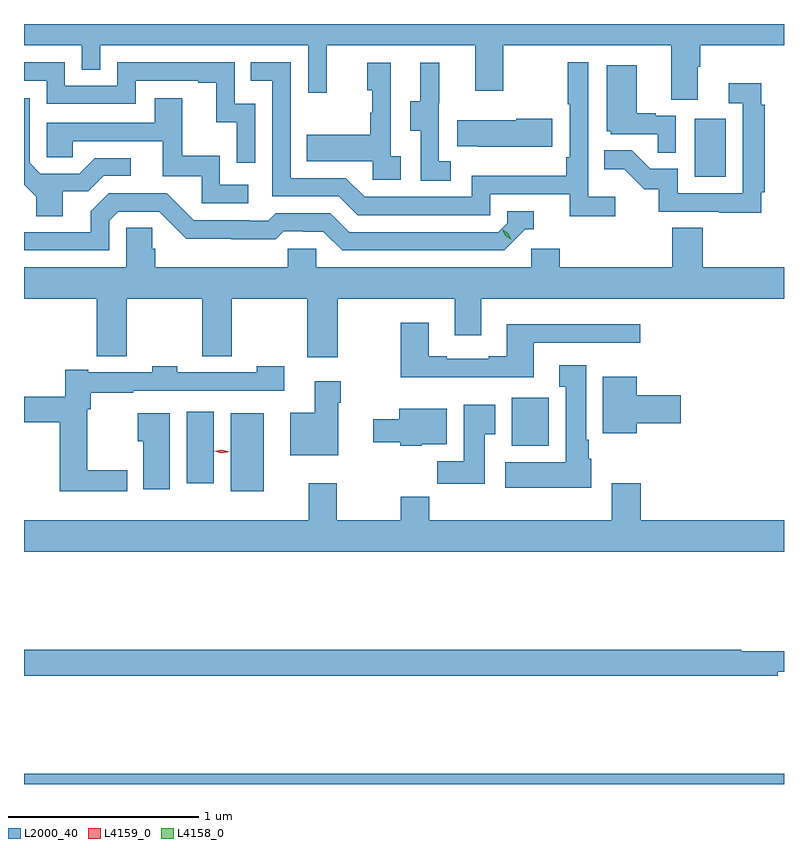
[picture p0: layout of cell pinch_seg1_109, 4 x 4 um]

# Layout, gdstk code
import gdstk
lib = gdstk.Library(unit=1e-6, precision=1e-09)
def R(c, l, rs):  # rectangles x0, y0, x1, y1
    for r in rs: c.add(gdstk.rectangle(r[:2], r[2:], *l))
def P(c, l, *ps):  # polygons
    for p in ps: c.add(gdstk.Polygon(p, *l))
L2000_40 = (2000, 40)
L4158_0 = (4158, 0)
L4159_0 = (4159, 0)

pinch_seg1_109 = lib.new_cell('pinch_seg1_109')
R(pinch_seg1_109, L2000_40, [(1024.081,559.833,1028.081,559.888), (1025.168,561.374,1025.344,561.784), (1024.937,561.417,1025.08,561.793), (1026.647,561.614,1026.843,561.865), (1027.61,563.028,1027.774,563.335)])
P(pinch_seg1_109, L2000_40, [(1027.627,563.608),(1027.64,563.608),(1027.64,563.72),(1028.081,563.72),(1028.081,563.833),(1024.081,563.833),(1024.081,563.72),(1024.386,563.72),(1024.386,563.593),(1024.482,563.593),(1024.482,563.72),(1025.577,563.72),(1025.577,563.472),(1025.675,563.472),(1025.675,563.72),(1026.455,563.72),(1026.455,563.481),(1026.603,563.481),(1026.603,563.72),(1027.487,563.72),(1027.487,563.434),(1027.627,563.434)],
  [(1027.192,562.924),(1027.05,562.924),(1027.05,563.632),(1026.942,563.632),(1026.942,563.41),(1026.954,563.41),(1026.954,563.131),(1026.934,563.131),(1026.934,563.035),(1026.438,563.035),(1026.438,562.923),(1025.874,562.923),(1025.775,563.022),(1025.484,563.022),(1025.484,563.631),(1025.275,563.631),(1025.275,563.535),(1025.388,563.535),(1025.388,562.926),(1025.738,562.926),(1025.837,562.827),(1026.534,562.827),(1026.534,562.938),(1026.953,562.938),(1026.953,562.822),(1027.192,562.822)],
  [(1025.298,563.412),(1025.19,563.412),(1025.19,563.631),(1024.572,563.631),(1024.572,563.508),(1024.296,563.508),(1024.296,563.631),(1024.081,563.631),(1024.081,563.535),(1024.2,563.535),(1024.2,563.412),(1024.668,563.412),(1024.668,563.535),(1024.997,563.535),(1024.997,563.523),(1025.093,563.523),(1025.093,563.315),(1025.202,563.315),(1025.202,563.103),(1025.298,563.103)],
  [(1026.328,563.111),(1026.264,563.111),(1026.264,563.415),(1026.266,563.415),(1026.266,563.629),(1026.167,563.629),(1026.167,563.427),(1026.113,563.427),(1026.113,563.272),(1026.168,563.272),(1026.168,563.008),(1026.328,563.008)],
  [(1026.064,563.138),(1026.012,563.138),(1026.012,563.629),(1025.888,563.629),(1025.888,563.484),(1025.914,563.484),(1025.914,563.366),(1025.904,563.366),(1025.904,563.251),(1025.569,563.251),(1025.569,563.111),(1025.916,563.111),(1025.916,563.013),(1026.064,563.013)],
  [(1027.512,563.349),(1027.406,563.349),(1027.406,563.362),(1027.306,563.362),(1027.306,563.617),(1027.148,563.617),(1027.148,563.268),(1027.17,563.268),(1027.17,563.253),(1027.417,563.253),(1027.417,563.155),(1027.512,563.155)],
  [(1027.961,562.948),(1027.979,562.948),(1027.979,563.408),(1027.961,563.408),(1027.961,563.521),(1027.791,563.521),(1027.791,563.415),(1027.863,563.415),(1027.863,562.941),(1027.521,562.941),(1027.521,563.07),(1027.377,563.07),(1027.279,563.168),(1027.135,563.168),(1027.135,563.069),(1027.239,563.069),(1027.346,562.962),(1027.423,562.962),(1027.423,562.845),(1027.741,562.845),(1027.741,562.84),(1027.961,562.84)],
  [(1024.285,562.954),(1024.42,562.954),(1024.5,563.034),(1024.642,563.034),(1024.642,563.127),(1024.454,563.127),(1024.373,563.046),(1024.167,563.046),(1024.11,563.103),(1024.11,563.443),(1024.081,563.443),(1024.081,562.988),(1024.145,562.924),(1024.145,562.822),(1024.285,562.822)],
  [(1025.26,562.986),(1025.112,562.986),(1025.112,563.14),(1024.913,563.14),(1024.913,563.443),(1024.769,563.443),(1024.769,563.313),(1024.2,563.313),(1024.2,563.133),(1024.337,563.133),(1024.337,563.217),(1024.811,563.217),(1024.811,563.031),(1025.016,563.031),(1025.016,562.89),(1025.26,562.89)],
  [(1026.862,563.334),(1026.671,563.334),(1026.671,563.326),(1026.361,563.326),(1026.361,563.189),(1026.469,563.189),(1026.469,563.186),(1026.862,563.186)],
  [(1024.53,562.797),(1024.578,562.845),(1024.794,562.845),(1024.936,562.703),(1025.172,562.703),(1025.172,562.701),(1025.405,562.701),(1025.447,562.743),(1025.55,562.743),(1025.55,562.74),(1025.657,562.74),(1025.756,562.641),(1026.609,562.641),(1026.72,562.752),(1026.763,562.752),(1026.763,562.848),(1026.624,562.848),(1026.624,562.785),(1026.576,562.737),(1025.793,562.737),(1025.694,562.836),(1025.405,562.836),(1025.366,562.797),(1025.267,562.797),(1025.267,562.8),(1024.974,562.8),(1024.833,562.941),(1024.527,562.941),(1024.433,562.847),(1024.433,562.737),(1024.081,562.737),(1024.081,562.641),(1024.53,562.641)],
  [(1025.732,562.388),(1026.347,562.388),(1026.347,562.194),(1026.487,562.194),(1026.487,562.388),(1028.081,562.388),(1028.081,562.552),(1027.653,562.552),(1027.653,562.76),(1027.493,562.76),(1027.493,562.552),(1026.902,562.552),(1026.902,562.65),(1026.75,562.65),(1026.75,562.552),(1025.619,562.552),(1025.619,562.65),(1025.469,562.65),(1025.469,562.552),(1024.772,562.552),(1024.772,562.65),(1024.757,562.65),(1024.757,562.76),(1024.62,562.76),(1024.62,562.552),(1024.081,562.552),(1024.081,562.388),(1024.463,562.388),(1024.463,562.084),(1024.622,562.084),(1024.622,562.388),(1025.02,562.388),(1025.02,562.084),(1025.174,562.084),(1025.174,562.388),(1025.572,562.388),(1025.572,562.08),(1025.732,562.08)],
  [(1026.763,562.155),(1027.324,562.155),(1027.324,562.252),(1026.623,562.252),(1026.623,562.084),(1026.527,562.084),(1026.527,562.071),(1026.307,562.071),(1026.307,562.084),(1026.211,562.084),(1026.211,562.261),(1026.064,562.261),(1026.064,561.974),(1026.763,561.974)],
  [(1027.066,561.546),(1027.054,561.546),(1027.054,561.646),(1027.039,561.646),(1027.039,562.036),(1026.899,562.036),(1026.899,561.923),(1026.932,561.923),(1026.932,561.526),(1026.615,561.526),(1026.615,561.392),(1027.066,561.392)],
  [(1024.624,561.484),(1024.414,561.484),(1024.414,561.806),(1024.433,561.806),(1024.433,561.891),(1024.655,561.891),(1024.655,561.903),(1025.452,561.903),(1025.452,562.032),(1025.307,562.032),(1025.307,561.999),(1024.887,561.999),(1024.887,562.032),(1024.755,562.032),(1024.755,561.999),(1024.42,561.999),(1024.42,562.012),(1024.297,562.012),(1024.297,561.872),(1024.081,561.872),(1024.081,561.736),(1024.268,561.736),(1024.268,561.374),(1024.624,561.374)],
  [(1027.306,561.731),(1027.537,561.731),(1027.537,561.878),(1027.306,561.878),(1027.306,561.976),(1027.127,561.976),(1027.127,561.68),(1027.306,561.68)],
  [(1025.734,561.839),(1025.747,561.839),(1025.747,561.952),(1025.612,561.952),(1025.612,561.787),(1025.483,561.787),(1025.483,561.563),(1025.734,561.563)],
  [(1026.505,561.673),(1026.562,561.673),(1026.562,561.829),(1026.395,561.829),(1026.395,561.532),(1026.256,561.532),(1026.256,561.414),(1026.505,561.414)],
  [(1026.174,561.62),(1026.307,561.62),(1026.307,561.808),(1026.056,561.808),(1026.056,561.754),(1025.919,561.754),(1025.919,561.632),(1026.06,561.632),(1026.06,561.614),(1026.174,561.614)],
  [(1024.849,561.784),(1024.679,561.784),(1024.679,561.637),(1024.709,561.637),(1024.709,561.384),(1024.849,561.384)],
  [(1028.081,561.22),(1027.328,561.22),(1027.328,561.415),(1027.175,561.415),(1027.175,561.22),(1026.215,561.22),(1026.215,561.344),(1026.064,561.344),(1026.064,561.22),(1025.727,561.22),(1025.727,561.415),(1025.579,561.415),(1025.579,561.22),(1024.081,561.22),(1024.081,561.056),(1028.081,561.056)],
  [(1028.048,560.423),(1028.081,560.423),(1028.081,560.533),(1027.857,560.533),(1027.857,560.54),(1024.081,560.54),(1024.081,560.404),(1028.048,560.404)])
P(pinch_seg1_109, L4158_0, [(1026.645,562.697),(1026.615,562.718),(1026.599,562.751),(1026.599,562.751),(1026.6,562.751),(1026.63,562.731),(1026.645,562.698),(1026.645,562.697)])
P(pinch_seg1_109, L4159_0, [(1025.123,561.573),(1025.082,561.584),(1025.082,561.584),(1025.082,561.584),(1025.123,561.593),(1025.164,561.583),(1025.164,561.583),(1025.164,561.583)])

lib.write_gds('pinch_seg1_109.gds')
